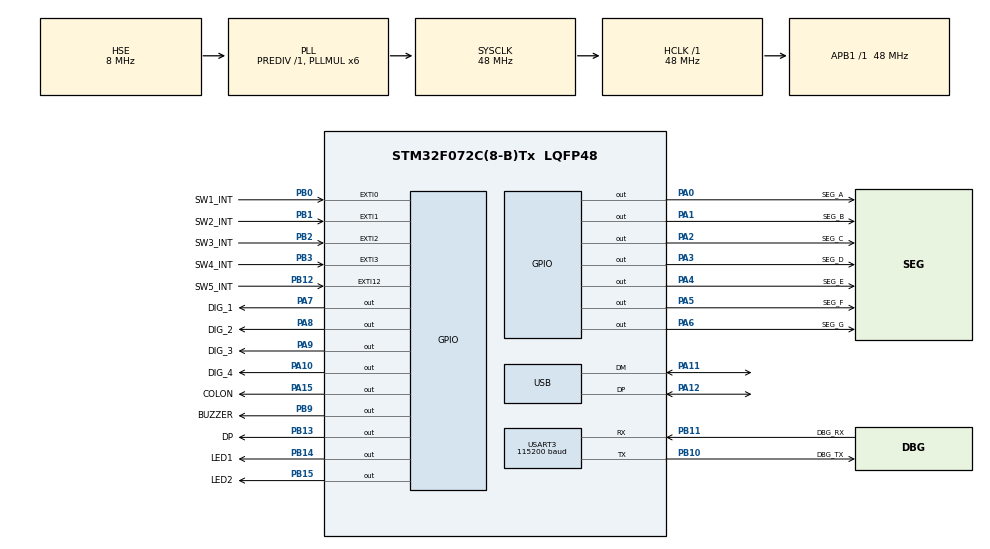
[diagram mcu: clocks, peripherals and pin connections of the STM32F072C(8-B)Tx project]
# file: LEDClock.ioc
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Mcu.Family=STM32F0
Mcu.Name=STM32F072C(8-B)Tx
Mcu.Package=LQFP48
NVIC.EXTI0_1_IRQn=true\:0\:0\:false\:false\:true\:true\:true\:true
NVIC.EXTI2_3_IRQn=true\:0\:0\:false\:false\:true\:true\:true\:true
NVIC.EXTI4_15_IRQn=true\:0\:0\:false\:false\:true\:true\:true\:true
NVIC.RTC_IRQn=true\:0\:0\:false\:false\:true\:true\:true\:true
NVIC.TIM17_IRQn=true\:0\:0\:false\:false\:true\:true\:true\:true
NVIC.TIM2_IRQn=true\:0\:0\:true\:false\:true\:true\:true\:true
NVIC.TIM3_IRQn=true\:0\:0\:false\:false\:true\:true\:true\:true
NVIC.TIM6_DAC_IRQn=true\:0\:0\:false\:false\:true\:true\:true\:true
NVIC.TIM7_IRQn=true\:0\:0\:false\:false\:true\:true\:true\:true
NVIC.USB_IRQn=true\:0\:0\:false\:false\:true\:false\:true\:true
PA0.GPIO_Label=SEG_A
PA0.Signal=GPIO_Output
PA1.GPIO_Label=SEG_B
PA1.Signal=GPIO_Output
PA10.GPIO_Label=DIG_4
PA10.GPIO_ModeDefaultOutputPP=GPIO_MODE_OUTPUT_OD
PA10.GPIO_PuPd=GPIO_NOPULL
PA10.PinState=GPIO_PIN_SET
PA10.Signal=GPIO_Output
PA11.Mode=Device
PA11.Signal=USB_DM
PA12.Mode=Device
PA12.Signal=USB_DP
PA13.Mode=Serial_Wire
PA13.Signal=SYS_SWDIO
PA14.Mode=Serial_Wire
PA14.Signal=SYS_SWCLK
PA15.GPIO_Label=COLON
PA15.Signal=GPIO_Output
PA2.GPIO_Label=SEG_C
PA2.Signal=GPIO_Output
PA3.GPIO_Label=SEG_D
PA3.Signal=GPIO_Output
PA4.GPIO_Label=SEG_E
PA4.Signal=GPIO_Output
PA5.GPIO_Label=SEG_F
PA5.Signal=GPIO_Output
PA6.GPIO_Label=SEG_G
PA6.Signal=GPIO_Output
PA7.GPIO_Label=DIG_1
PA7.GPIO_ModeDefaultOutputPP=GPIO_MODE_OUTPUT_OD
PA7.GPIO_PuPd=GPIO_NOPULL
PA7.PinState=GPIO_PIN_SET
PA7.Signal=GPIO_Output
PA8.GPIO_Label=DIG_2
PA8.GPIO_ModeDefaultOutputPP=GPIO_MODE_OUTPUT_OD
PA8.GPIO_PuPd=GPIO_NOPULL
PA8.GPIO_Speed=GPIO_SPEED_FREQ_LOW
PA8.PinState=GPIO_PIN_SET
PA8.Signal=GPIO_Output
PA9.GPIO_Label=DIG_3
PA9.GPIO_ModeDefaultOutputPP=GPIO_MODE_OUTPUT_OD
PA9.GPIO_PuPd=GPIO_NOPULL
PA9.PinState=GPIO_PIN_SET
PA9.Signal=GPIO_Output
PB0.GPIO_Label=SW1_INT
PB0.GPIO_ModeDefaultEXTI=GPIO_MODE_IT_FALLING
PB0.GPIO_PuPd=GPIO_PULLUP
PB0.Signal=GPXTI0
PB1.GPIO_Label=SW2_INT
PB1.GPIO_ModeDefaultEXTI=GPIO_MODE_IT_FALLING
PB1.GPIO_PuPd=GPIO_PULLUP
PB1.Signal=GPXTI1
PB10.GPIO_Label=DBG_TX
PB10.Mode=Asynchronous
PB10.Signal=USART3_TX
PB11.GPIO_Label=DBG_RX
PB11.Mode=Asynchronous
PB11.Signal=USART3_RX
PB12.GPIO_Label=SW5_INT
PB12.GPIO_ModeDefaultEXTI=GPIO_MODE_IT_RISING_FALLING
PB12.GPIO_PuPd=GPIO_PULLUP
PB12.Signal=GPXTI12
PB13.GPIO_Label=DP
PB13.Signal=GPIO_Output
PB14.GPIO_Label=LED1
PB14.PinState=GPIO_PIN_SET
PB14.Signal=GPIO_Output
PB15.GPIO_Label=LED2
PB15.PinState=GPIO_PIN_SET
PB15.Signal=GPIO_Output
PB2.GPIO_Label=SW3_INT
PB2.GPIO_ModeDefaultEXTI=GPIO_MODE_IT_FALLING
PB2.GPIO_PuPd=GPIO_PULLUP
PB2.Signal=GPXTI2
PB3.GPIO_Label=SW4_INT
PB3.GPIO_ModeDefaultEXTI=GPIO_MODE_IT_FALLING
PB3.GPIO_PuPd=GPIO_PULLUP
PB3.Signal=GPXTI3
PB9.GPIO_Label=BUZZER
PB9.Signal=GPIO_Output
PC14-OSC32_IN.Mode=LSE-External-Oscillator
PC14-OSC32_IN.Signal=RCC_OSC32_IN
PC15-OSC32_OUT.Mode=LSE-External-Oscillator
PC15-OSC32_OUT.Signal=RCC_OSC32_OUT
PF0-OSC_IN.Mode=HSE-External-Oscillator
PF0-OSC_IN.Signal=RCC_OSC_IN
PF1-OSC_OUT.Mode=HSE-External-Oscillator
PF1-OSC_OUT.Signal=RCC_OSC_OUT
ProjectManager.HeapSize=0x600
ProjectManager.StackSize=0x400
ProjectManager.TargetToolchain=STM32CubeIDE
RCC.AHBFreq_Value=48000000
RCC.APB1Freq_Value=48000000
RCC.APB1TimFreq_Value=48000000
RCC.HCLKFreq_Value=48000000
RCC.PLLMUL=RCC_PLL_MUL6
RCC.RTCClockSelection=RCC_RTCCLKSOURCE_LSE
RCC.SYSCLKFreq_VALUE=48000000
RCC.SYSCLKSource=RCC_SYSCLKSOURCE_PLLCLK
RCC.USBClockSelection=RCC_USBCLKSOURCE_PLL
RCC.USBFreq_Value=48000000
RTC.Alarm-Alarm\ A=RTC_ALARM_A
TIM17.Prescaler=48
TIM2.Period=1000000
TIM2.Prescaler=48
TIM3.AutoReloadPreload=TIM_AUTORELOAD_PRELOAD_ENABLE
TIM3.Channel-PWM\ Generation1\ No\ Output=TIM_CHANNEL_1
TIM3.Channel-PWM\ Generation2\ No\ Output=TIM_CHANNEL_2
TIM3.Period=5000
TIM3.Prescaler=48
TIM3.Pulse-PWM\ Generation2\ No\ Output=5000
TIM6.AutoReloadPreload=TIM_AUTORELOAD_PRELOAD_ENABLE
TIM6.Period=5000
TIM6.Prescaler=3200
TIM7.Period=20000
TIM7.Prescaler=80
USART3.BaudRate=115200
USART3.VirtualMode-Asynchronous=VM_ASYNC
USB_DEVICE.CLASS_NAME_FS=CDC
USB_DEVICE.MANUFACTURER_STRING=SDL
USB_DEVICE.PRODUCT_STRING_CDC_FS=LEDClock
USB_DEVICE.VirtualMode=Cdc
USB_DEVICE.VirtualModeFS=Cdc_FS
VP_RTC_VS_RTC_Activate.Mode=RTC_Enabled
VP_RTC_VS_RTC_Alarm_A_Intern.Mode=Alarm A
VP_RTC_VS_RTC_Calendar.Mode=RTC_Calendar
VP_TIM15_VS_ClockSourceINT.Mode=Internal
VP_TIM17_VS_ClockSourceINT.Mode=Enable_Timer
VP_TIM2_VS_ClockSourceINT.Mode=Internal
VP_TIM3_VS_ClockSourceINT.Mode=Internal
VP_TIM3_VS_no_output1.Mode=PWM Generation1 No Output
VP_TIM3_VS_no_output2.Mode=PWM Generation2 No Output
VP_TIM6_VS_ClockSourceINT.Mode=Enable_Timer
VP_TIM7_VS_ClockSourceINT.Mode=Enable_Timer
VP_USB_DEVICE_VS_USB_DEVICE_CDC_FS.Mode=CDC_FS
board=custom

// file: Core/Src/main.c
/* USER CODE BEGIN Header */
/**
  ******************************************************************************
  * @file           : main.c
  * @brief          : Main program body
  ******************************************************************************
  * @attention
  *
  * Copyright (c) 2023 STMicroelectronics.
  * All rights reserved.
  *
  * This software is licensed under terms that can be found in the LICENSE file
  * in the root directory of this software component.
  * If no LICENSE file comes with this software, it is provided AS-IS.
  *
  ******************************************************************************
  */
/* USER CODE END Header */
#include "main.h"
#include "usb_device.h"

/* USER CODE BEGIN PD */
extern void main_task(void);
/* USER CODE END PD */

RTC_HandleTypeDef hrtc;

TIM_HandleTypeDef htim2;
TIM_HandleTypeDef htim3;
TIM_HandleTypeDef htim6;
TIM_HandleTypeDef htim7;
TIM_HandleTypeDef htim15;
TIM_HandleTypeDef htim17;

UART_HandleTypeDef huart3;

void SystemClock_Config(void);
static void MX_GPIO_Init(void);
static void MX_RTC_Init(void);
static void MX_TIM17_Init(void);
static void MX_USART3_UART_Init(void);
static void MX_TIM2_Init(void);
static void MX_TIM3_Init(void);
static void MX_TIM7_Init(void);
static void MX_TIM6_Init(void);
static void MX_TIM15_Init(void);

/* USER CODE BEGIN 0 */
#include <stdio.h>
#include <sys/unistd.h>
#include "usbd_def.h"
#include "usbd_core.h"
#include "usbd_cdc_if.h"

// read from usb serial port
int _read(int file, char *data, int len)
{
	while(!usb_char_waiting())
	{
		HAL_Delay(10);
	}

    *data = usb_read_char();
	return 1;
}

// write to usb serial port
int _write(int file, char *ptr, int len)
{
	if(usb_is_configured())
	{
		usb_write_chars(ptr, len);
	}

	return len;
}
/* USER CODE END 0 */

int main(void)
{

  /* MCU Configuration--------------------------------------------------------*/

  /* Reset of all peripherals, Initializes the Flash interface and the Systick. */
  HAL_Init();

  /* Configure the system clock */
  SystemClock_Config();

  /* Initialize all configured peripherals */
  MX_GPIO_Init();
  MX_RTC_Init();
  MX_TIM17_Init();
  MX_USART3_UART_Init();
  MX_TIM2_Init();
  MX_TIM3_Init();
  MX_TIM7_Init();
  MX_USB_DEVICE_Init();
  MX_TIM6_Init();
  MX_TIM15_Init();
  /* USER CODE BEGIN 2 */
  setvbuf(stdin, NULL, _IONBF, 0);
  setvbuf(stdout, NULL, _IONBF, 0);
  setvbuf(stderr, NULL, _IONBF, 0);

  /* USER CODE END 2 */

  /* Infinite loop */
  /* USER CODE BEGIN WHILE */
  while (1)
  {
	  for(int delay =0; delay < 50; delay++)
	  {
			if(usb_is_configured())
			{
				break;
			}
			HAL_Delay(100);
	  }
	  main_task();
    /* USER CODE END WHILE */

  }
}

void SystemClock_Config(void)
{
  RCC_OscInitTypeDef RCC_OscInitStruct = {0};
  RCC_ClkInitTypeDef RCC_ClkInitStruct = {0};
  RCC_PeriphCLKInitTypeDef PeriphClkInit = {0};

  /** Configure LSE Drive Capability
  */
  HAL_PWR_EnableBkUpAccess();
  __HAL_RCC_LSEDRIVE_CONFIG(RCC_LSEDRIVE_HIGH);

  /** Initializes the RCC Oscillators according to the specified parameters
  * in the RCC_OscInitTypeDef structure.
  */
  RCC_OscInitStruct.OscillatorType = RCC_OSCILLATORTYPE_HSE|RCC_OSCILLATORTYPE_LSE;
  RCC_OscInitStruct.HSEState = RCC_HSE_ON;
  RCC_OscInitStruct.LSEState = RCC_LSE_ON;
  RCC_OscInitStruct.PLL.PLLState = RCC_PLL_ON;
  RCC_OscInitStruct.PLL.PLLSource = RCC_PLLSOURCE_HSE;
  RCC_OscInitStruct.PLL.PLLMUL = RCC_PLL_MUL6;
  RCC_OscInitStruct.PLL.PREDIV = RCC_PREDIV_DIV1;
  if (HAL_RCC_OscConfig(&RCC_OscInitStruct) != HAL_OK)
  {
    Error_Handler();
  }

  /** Initializes the CPU, AHB and APB buses clocks
  */
  RCC_ClkInitStruct.ClockType = RCC_CLOCKTYPE_HCLK|RCC_CLOCKTYPE_SYSCLK
                              |RCC_CLOCKTYPE_PCLK1;
  RCC_ClkInitStruct.SYSCLKSource = RCC_SYSCLKSOURCE_PLLCLK;
  RCC_ClkInitStruct.AHBCLKDivider = RCC_SYSCLK_DIV1;
  RCC_ClkInitStruct.APB1CLKDivider = RCC_HCLK_DIV1;

  if (HAL_RCC_ClockConfig(&RCC_ClkInitStruct, FLASH_LATENCY_1) != HAL_OK)
  {
    Error_Handler();
  }
  PeriphClkInit.PeriphClockSelection = RCC_PERIPHCLK_USB|RCC_PERIPHCLK_RTC;
  PeriphClkInit.RTCClockSelection = RCC_RTCCLKSOURCE_LSE;
  PeriphClkInit.UsbClockSelection = RCC_USBCLKSOURCE_PLL;

  if (HAL_RCCEx_PeriphCLKConfig(&PeriphClkInit) != HAL_OK)
  {
    Error_Handler();
  }
}

static void MX_RTC_Init(void)
{

  RTC_TimeTypeDef sTime = {0};
  RTC_DateTypeDef sDate = {0};
  RTC_AlarmTypeDef sAlarm = {0};

  /** Initialize RTC Only
  */
  hrtc.Instance = RTC;
  hrtc.Init.HourFormat = RTC_HOURFORMAT_24;
  hrtc.Init.AsynchPrediv = 127;
  hrtc.Init.SynchPrediv = 255;
  hrtc.Init.OutPut = RTC_OUTPUT_DISABLE;
  hrtc.Init.OutPutPolarity = RTC_OUTPUT_POLARITY_HIGH;
  hrtc.Init.OutPutType = RTC_OUTPUT_TYPE_OPENDRAIN;
  if (HAL_RTC_Init(&hrtc) != HAL_OK)
  {
    Error_Handler();
  }

  /* USER CODE BEGIN Check_RTC_BKUP */
  return; // don't initialise alarm for now
  /* USER CODE END Check_RTC_BKUP */

  /** Initialize RTC and set the Time and Date
  */
  sTime.Hours = 0x0;
  sTime.Minutes = 0x0;
  sTime.Seconds = 0x0;
  sTime.DayLightSaving = RTC_DAYLIGHTSAVING_NONE;
  sTime.StoreOperation = RTC_STOREOPERATION_RESET;
  if (HAL_RTC_SetTime(&hrtc, &sTime, RTC_FORMAT_BCD) != HAL_OK)
  {
    Error_Handler();
  }
  sDate.WeekDay = RTC_WEEKDAY_MONDAY;
  sDate.Month = RTC_MONTH_JANUARY;
  sDate.Date = 0x1;
  sDate.Year = 0x0;

  if (HAL_RTC_SetDate(&hrtc, &sDate, RTC_FORMAT_BCD) != HAL_OK)
  {
    Error_Handler();
  }

  /** Enable the Alarm A
  */
  sAlarm.AlarmTime.Hours = 0x0;
  sAlarm.AlarmTime.Minutes = 0x0;
  sAlarm.AlarmTime.Seconds = 0x0;
  sAlarm.AlarmTime.SubSeconds = 0x0;
  sAlarm.AlarmTime.DayLightSaving = RTC_DAYLIGHTSAVING_NONE;
  sAlarm.AlarmTime.StoreOperation = RTC_STOREOPERATION_RESET;
  sAlarm.AlarmMask = RTC_ALARMMASK_NONE;
  sAlarm.AlarmSubSecondMask = RTC_ALARMSUBSECONDMASK_ALL;
  sAlarm.AlarmDateWeekDaySel = RTC_ALARMDATEWEEKDAYSEL_DATE;
  sAlarm.AlarmDateWeekDay = 0x1;
  sAlarm.Alarm = RTC_ALARM_A;
  if (HAL_RTC_SetAlarm_IT(&hrtc, &sAlarm, RTC_FORMAT_BCD) != HAL_OK)
  {
    Error_Handler();
  }

}

static void MX_TIM2_Init(void)
{

  TIM_ClockConfigTypeDef sClockSourceConfig = {0};
  TIM_MasterConfigTypeDef sMasterConfig = {0};

  htim2.Instance = TIM2;
  htim2.Init.Prescaler = 48;
  htim2.Init.CounterMode = TIM_COUNTERMODE_UP;
  htim2.Init.Period = 1000000;
  htim2.Init.ClockDivision = TIM_CLOCKDIVISION_DIV1;
  htim2.Init.AutoReloadPreload = TIM_AUTORELOAD_PRELOAD_DISABLE;
  if (HAL_TIM_Base_Init(&htim2) != HAL_OK)
  {
    Error_Handler();
  }
  sClockSourceConfig.ClockSource = TIM_CLOCKSOURCE_INTERNAL;
  if (HAL_TIM_ConfigClockSource(&htim2, &sClockSourceConfig) != HAL_OK)
  {
    Error_Handler();
  }
  sMasterConfig.MasterOutputTrigger = TIM_TRGO_RESET;
  sMasterConfig.MasterSlaveMode = TIM_MASTERSLAVEMODE_DISABLE;
  if (HAL_TIMEx_MasterConfigSynchronization(&htim2, &sMasterConfig) != HAL_OK)
  {
    Error_Handler();
  }

}

static void MX_TIM3_Init(void)
{

  TIM_ClockConfigTypeDef sClockSourceConfig = {0};
  TIM_MasterConfigTypeDef sMasterConfig = {0};
  TIM_OC_InitTypeDef sConfigOC = {0};

  htim3.Instance = TIM3;
  htim3.Init.Prescaler = 48;
  htim3.Init.CounterMode = TIM_COUNTERMODE_UP;
  htim3.Init.Period = 5000;
  htim3.Init.ClockDivision = TIM_CLOCKDIVISION_DIV1;
  htim3.Init.AutoReloadPreload = TIM_AUTORELOAD_PRELOAD_ENABLE;
  if (HAL_TIM_Base_Init(&htim3) != HAL_OK)
  {
    Error_Handler();
  }
  sClockSourceConfig.ClockSource = TIM_CLOCKSOURCE_INTERNAL;
  if (HAL_TIM_ConfigClockSource(&htim3, &sClockSourceConfig) != HAL_OK)
  {
    Error_Handler();
  }
  if (HAL_TIM_PWM_Init(&htim3) != HAL_OK)
  {
    Error_Handler();
  }
  sMasterConfig.MasterOutputTrigger = TIM_TRGO_RESET;
  sMasterConfig.MasterSlaveMode = TIM_MASTERSLAVEMODE_DISABLE;
  if (HAL_TIMEx_MasterConfigSynchronization(&htim3, &sMasterConfig) != HAL_OK)
  {
    Error_Handler();
  }
  sConfigOC.OCMode = TIM_OCMODE_PWM1;
  sConfigOC.Pulse = 0;
  sConfigOC.OCPolarity = TIM_OCPOLARITY_HIGH;
  sConfigOC.OCFastMode = TIM_OCFAST_DISABLE;
  if (HAL_TIM_PWM_ConfigChannel(&htim3, &sConfigOC, TIM_CHANNEL_1) != HAL_OK)
  {
    Error_Handler();
  }
  sConfigOC.Pulse = 5000;
  if (HAL_TIM_PWM_ConfigChannel(&htim3, &sConfigOC, TIM_CHANNEL_2) != HAL_OK)
  {
    Error_Handler();
  }

}

static void MX_TIM6_Init(void)
{

  TIM_MasterConfigTypeDef sMasterConfig = {0};

  htim6.Instance = TIM6;
  htim6.Init.Prescaler = 3200;
  htim6.Init.CounterMode = TIM_COUNTERMODE_UP;
  htim6.Init.Period = 5000;
  htim6.Init.AutoReloadPreload = TIM_AUTORELOAD_PRELOAD_ENABLE;
  if (HAL_TIM_Base_Init(&htim6) != HAL_OK)
  {
    Error_Handler();
  }
  sMasterConfig.MasterOutputTrigger = TIM_TRGO_RESET;
  sMasterConfig.MasterSlaveMode = TIM_MASTERSLAVEMODE_DISABLE;
  if (HAL_TIMEx_MasterConfigSynchronization(&htim6, &sMasterConfig) != HAL_OK)
  {
    Error_Handler();
  }

}

static void MX_TIM7_Init(void)
{

  TIM_MasterConfigTypeDef sMasterConfig = {0};

  htim7.Instance = TIM7;
  htim7.Init.Prescaler = 80;
  htim7.Init.CounterMode = TIM_COUNTERMODE_UP;
  htim7.Init.Period = 20000;
  htim7.Init.AutoReloadPreload = TIM_AUTORELOAD_PRELOAD_DISABLE;
  if (HAL_TIM_Base_Init(&htim7) != HAL_OK)
  {
    Error_Handler();
  }
  sMasterConfig.MasterOutputTrigger = TIM_TRGO_RESET;
  sMasterConfig.MasterSlaveMode = TIM_MASTERSLAVEMODE_DISABLE;
  if (HAL_TIMEx_MasterConfigSynchronization(&htim7, &sMasterConfig) != HAL_OK)
  {
    Error_Handler();
  }

}

static void MX_TIM15_Init(void)
{

  TIM_ClockConfigTypeDef sClockSourceConfig = {0};
  TIM_MasterConfigTypeDef sMasterConfig = {0};

  htim15.Instance = TIM15;
  htim15.Init.Prescaler = 0;
  htim15.Init.CounterMode = TIM_COUNTERMODE_UP;
  htim15.Init.Period = 65535;
  htim15.Init.ClockDivision = TIM_CLOCKDIVISION_DIV1;
  htim15.Init.RepetitionCounter = 0;
  htim15.Init.AutoReloadPreload = TIM_AUTORELOAD_PRELOAD_DISABLE;
  if (HAL_TIM_Base_Init(&htim15) != HAL_OK)
  {
    Error_Handler();
  }
  sClockSourceConfig.ClockSource = TIM_CLOCKSOURCE_INTERNAL;
  if (HAL_TIM_ConfigClockSource(&htim15, &sClockSourceConfig) != HAL_OK)
  {
    Error_Handler();
  }
  sMasterConfig.MasterOutputTrigger = TIM_TRGO_RESET;
  sMasterConfig.MasterSlaveMode = TIM_MASTERSLAVEMODE_DISABLE;
  if (HAL_TIMEx_MasterConfigSynchronization(&htim15, &sMasterConfig) != HAL_OK)
  {
    Error_Handler();
  }

}

static void MX_TIM17_Init(void)
{

  htim17.Instance = TIM17;
  htim17.Init.Prescaler = 48;
  htim17.Init.CounterMode = TIM_COUNTERMODE_UP;
  htim17.Init.Period = 65535;
  htim17.Init.ClockDivision = TIM_CLOCKDIVISION_DIV1;
  htim17.Init.RepetitionCounter = 0;
  htim17.Init.AutoReloadPreload = TIM_AUTORELOAD_PRELOAD_DISABLE;
  if (HAL_TIM_Base_Init(&htim17) != HAL_OK)
  {
    Error_Handler();
  }

}

static void MX_USART3_UART_Init(void)
{

  huart3.Instance = USART3;
  huart3.Init.BaudRate = 115200;
  huart3.Init.WordLength = UART_WORDLENGTH_8B;
  huart3.Init.StopBits = UART_STOPBITS_1;
  huart3.Init.Parity = UART_PARITY_NONE;
  huart3.Init.Mode = UART_MODE_TX_RX;
  huart3.Init.HwFlowCtl = UART_HWCONTROL_NONE;
  huart3.Init.OverSampling = UART_OVERSAMPLING_16;
  huart3.Init.OneBitSampling = UART_ONE_BIT_SAMPLE_DISABLE;
  huart3.AdvancedInit.AdvFeatureInit = UART_ADVFEATURE_NO_INIT;
  if (HAL_UART_Init(&huart3) != HAL_OK)
  {
    Error_Handler();
  }

}

static void MX_GPIO_Init(void)
{
  GPIO_InitTypeDef GPIO_InitStruct = {0};

  /* GPIO Ports Clock Enable */
  __HAL_RCC_GPIOC_CLK_ENABLE();
  __HAL_RCC_GPIOF_CLK_ENABLE();
  __HAL_RCC_GPIOA_CLK_ENABLE();
  __HAL_RCC_GPIOB_CLK_ENABLE();

  /*Configure GPIO pin Output Level */
  HAL_GPIO_WritePin(GPIOA, SEG_A_Pin|SEG_B_Pin|SEG_C_Pin|SEG_D_Pin
                          |SEG_E_Pin|SEG_F_Pin|SEG_G_Pin|COLON_Pin, GPIO_PIN_RESET);

  /*Configure GPIO pin Output Level */
  HAL_GPIO_WritePin(GPIOA, DIG_1_Pin|DIG_2_Pin|DIG_3_Pin|DIG_4_Pin, GPIO_PIN_SET);

  /*Configure GPIO pin Output Level */
  HAL_GPIO_WritePin(GPIOB, DP_Pin|BUZZER_Pin, GPIO_PIN_RESET);

  /*Configure GPIO pin Output Level */
  HAL_GPIO_WritePin(GPIOB, LED1_Pin|LED2_Pin, GPIO_PIN_SET);

  /*Configure GPIO pins : SEG_A_Pin SEG_B_Pin SEG_C_Pin SEG_D_Pin
                           SEG_E_Pin SEG_F_Pin SEG_G_Pin COLON_Pin */
  GPIO_InitStruct.Pin = SEG_A_Pin|SEG_B_Pin|SEG_C_Pin|SEG_D_Pin
                          |SEG_E_Pin|SEG_F_Pin|SEG_G_Pin|COLON_Pin;
  GPIO_InitStruct.Mode = GPIO_MODE_OUTPUT_PP;
  GPIO_InitStruct.Pull = GPIO_NOPULL;
  GPIO_InitStruct.Speed = GPIO_SPEED_FREQ_LOW;
  HAL_GPIO_Init(GPIOA, &GPIO_InitStruct);

  /*Configure GPIO pins : DIG_1_Pin DIG_2_Pin DIG_3_Pin DIG_4_Pin */
  GPIO_InitStruct.Pin = DIG_1_Pin|DIG_2_Pin|DIG_3_Pin|DIG_4_Pin;
  GPIO_InitStruct.Mode = GPIO_MODE_OUTPUT_OD;
  GPIO_InitStruct.Pull = GPIO_NOPULL;
  GPIO_InitStruct.Speed = GPIO_SPEED_FREQ_LOW;
  HAL_GPIO_Init(GPIOA, &GPIO_InitStruct);

  /*Configure GPIO pins : SW1_INT_Pin SW2_INT_Pin SW3_INT_Pin SW4_INT_Pin */
  GPIO_InitStruct.Pin = SW1_INT_Pin|SW2_INT_Pin|SW3_INT_Pin|SW4_INT_Pin;
  GPIO_InitStruct.Mode = GPIO_MODE_IT_FALLING;
  GPIO_InitStruct.Pull = GPIO_PULLUP;
  HAL_GPIO_Init(GPIOB, &GPIO_InitStruct);

  /*Configure GPIO pin : SW5_INT_Pin */
  GPIO_InitStruct.Pin = SW5_INT_Pin;
  GPIO_InitStruct.Mode = GPIO_MODE_IT_RISING_FALLING;
  GPIO_InitStruct.Pull = GPIO_PULLUP;
  HAL_GPIO_Init(SW5_INT_GPIO_Port, &GPIO_InitStruct);

  /*Configure GPIO pins : DP_Pin LED1_Pin LED2_Pin BUZZER_Pin */
  GPIO_InitStruct.Pin = DP_Pin|LED1_Pin|LED2_Pin|BUZZER_Pin;
  GPIO_InitStruct.Mode = GPIO_MODE_OUTPUT_PP;
  GPIO_InitStruct.Pull = GPIO_NOPULL;
  GPIO_InitStruct.Speed = GPIO_SPEED_FREQ_LOW;
  HAL_GPIO_Init(GPIOB, &GPIO_InitStruct);

  /* EXTI interrupt init*/
  HAL_NVIC_SetPriority(EXTI0_1_IRQn, 0, 0);
  HAL_NVIC_EnableIRQ(EXTI0_1_IRQn);

  HAL_NVIC_SetPriority(EXTI2_3_IRQn, 0, 0);
  HAL_NVIC_EnableIRQ(EXTI2_3_IRQn);

  HAL_NVIC_SetPriority(EXTI4_15_IRQn, 0, 0);
  HAL_NVIC_EnableIRQ(EXTI4_15_IRQn);

/* USER CODE BEGIN MX_GPIO_Init_2 */
//  HAL_NVIC_SetPriority(RTC_IRQn, 0, 0);
//  HAL_NVIC_EnableIRQ(RTC_IRQn);
/* USER CODE END MX_GPIO_Init_2 */
}

void Error_Handler(void)
{
  /* USER CODE BEGIN Error_Handler_Debug */
  /* User can add his own implementation to report the HAL error return state */
  __disable_irq();
  while (1)
  {
		HAL_GPIO_TogglePin(LED1_GPIO_Port, LED1_Pin);
		HAL_GPIO_TogglePin(LED2_GPIO_Port, LED2_Pin);
  }
  /* USER CODE END Error_Handler_Debug */
}
